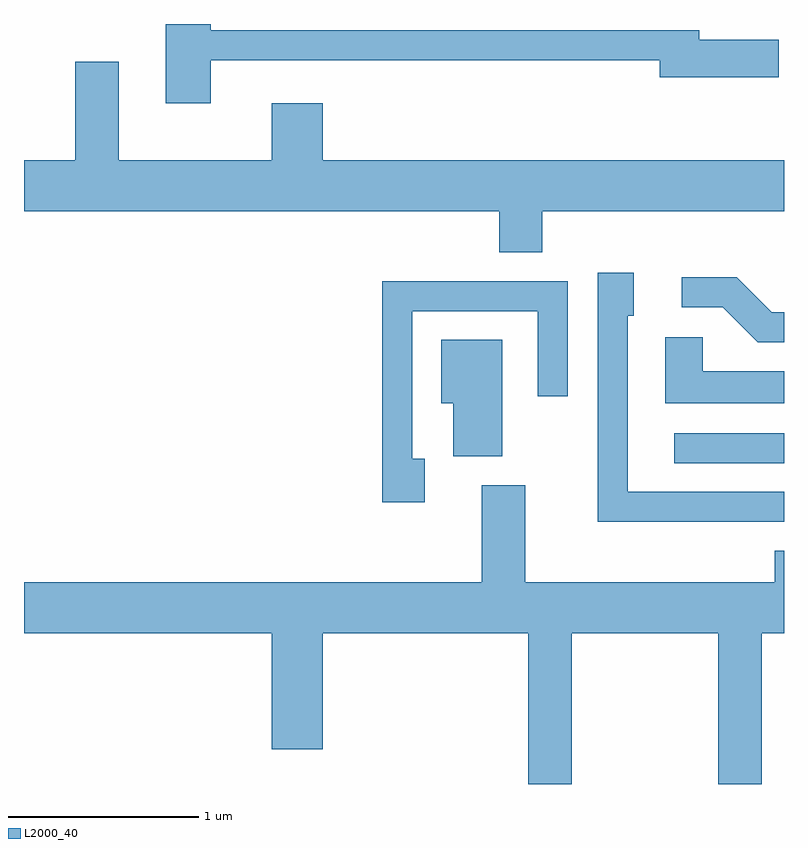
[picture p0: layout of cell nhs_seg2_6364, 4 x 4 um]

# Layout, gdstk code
import gdstk
lib = gdstk.Library(unit=1e-6, precision=1e-09)
def R(c, l, rs):  # rectangles x0, y0, x1, y1
    for r in rs: c.add(gdstk.rectangle(r[:2], r[2:], *l))
def P(c, l, *ps):  # polygons
    for p in ps: c.add(gdstk.Polygon(p, *l))
L2000_40 = (2000, 40)

nhs_seg2_6364 = lib.new_cell('nhs_seg2_6364')
R(nhs_seg2_6364, L2000_40, [(377.033,991.491,377.611,991.649)])
P(nhs_seg2_6364, L2000_40, [(374.594,993.611),(376.956,993.611),(376.956,993.521),(377.584,993.521),(377.584,993.719),(377.164,993.719),(377.164,993.769),(374.594,993.769),(374.594,993.802),(374.356,993.802),(374.356,993.386),(374.594,993.386)],
  [(376.339,992.816),(377.611,992.816),(377.611,993.084),(375.184,993.084),(375.184,993.384),(374.916,993.384),(374.916,993.084),(374.109,993.084),(374.109,993.604),(373.881,993.604),(373.881,993.084),(373.611,993.084),(373.611,992.816),(376.111,992.816),(376.111,992.601),(376.339,992.601)],
  [(377.611,991.339),(376.789,991.339),(376.789,992.266),(376.819,992.266),(376.819,992.494),(376.631,992.494),(376.631,991.181),(377.611,991.181)],
  [(377.611,992.284),(377.547,992.284),(377.362,992.469),(377.073,992.469),(377.073,992.311),(377.289,992.311),(377.474,992.126),(377.611,992.126)],
  [(375.719,991.514),(375.654,991.514),(375.654,992.291),(376.316,992.291),(376.316,991.843),(376.474,991.843),(376.474,992.449),(375.496,992.449),(375.496,991.286),(375.719,991.286)],
  [(377.611,991.974),(377.184,991.974),(377.184,992.154),(376.986,992.154),(376.986,991.806),(377.611,991.806)],
  [(376.129,992.139),(375.806,992.139),(375.806,991.806),(375.871,991.806),(375.871,991.526),(376.129,991.526)],
  [(376.494,990.596),(377.266,990.596),(377.266,989.802),(377.494,989.802),(377.494,990.596),(377.611,990.596),(377.611,991.029),(377.561,991.029),(377.561,990.864),(376.249,990.864),(376.249,991.374),(376.021,991.374),(376.021,990.864),(373.611,990.864),(373.611,990.596),(374.916,990.596),(374.916,989.986),(375.184,989.986),(375.184,990.596),(376.266,990.596),(376.266,989.802),(376.494,989.802)])

lib.write_gds('nhs_seg2_6364.gds')
